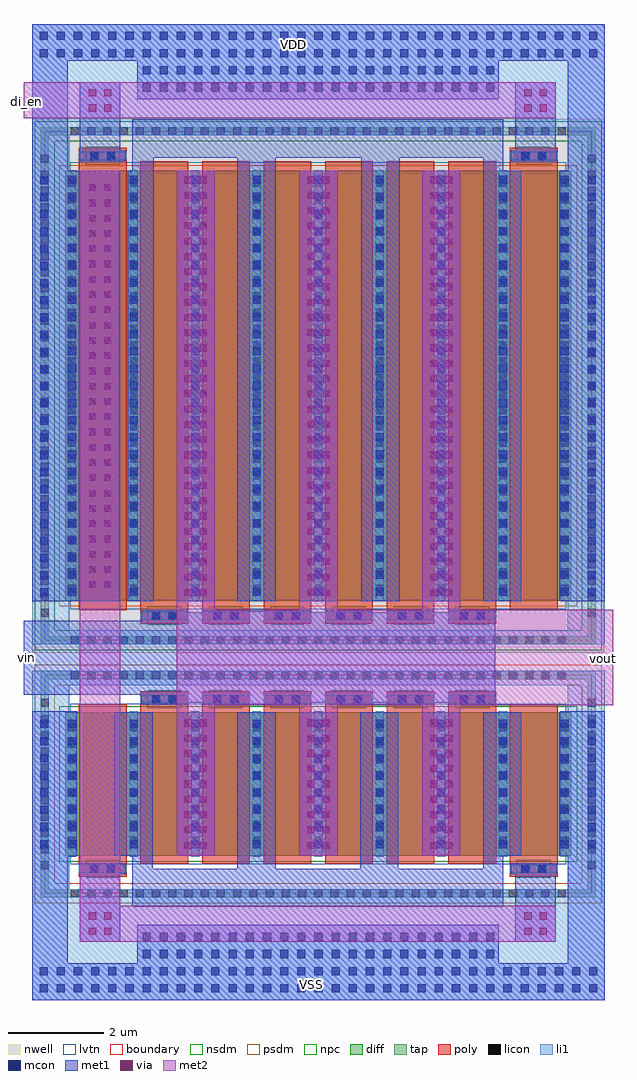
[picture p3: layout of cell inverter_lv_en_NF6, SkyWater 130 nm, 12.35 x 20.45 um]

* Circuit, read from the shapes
.subckt inverter_lv_en_NF6 VDD VSS di_en vin vout
XM1 sky130_fd_pr__nfet_01v8_lvt_WHJEU4_1/S1 VDD VSS VSS sky130_fd_pr__nfet_01v8_lvt w=3 l=1 m=2
XM2 vout vin sky130_fd_pr__nfet_01v8_lvt_WHJEU4_1/S1 VSS sky130_fd_pr__nfet_01v8_lvt w=3 l=1 m=6
XM3 sky130_fd_pr__pfet_01v8_lvt_P4QH36_0/S1 di_en VDD VDD sky130_fd_pr__pfet_01v8_lvt w=9 l=1 m=2
XM4 vout vin sky130_fd_pr__pfet_01v8_lvt_P4QH36_0/S1 VDD sky130_fd_pr__pfet_01v8_lvt w=9 l=1 m=6
.ends

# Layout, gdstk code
import gdstk
lib = gdstk.Library(unit=1e-6, precision=1e-09)
def R(c, l, rs):  # rectangles x0, y0, x1, y1
    for r in rs: c.add(gdstk.rectangle(r[:2], r[2:], *l))
def A(c, l, x, y, w, h, nx, ny, dx, dy):  # array of equal rectangles
    R(c, l, [(x+i*dx, y+j*dy, x+i*dx+w, y+j*dy+h) for i in range(nx) for j in range(ny)])
nwell = (64, 20)
diff = (65, 20)
tap = (65, 44)
poly = (66, 20)
licon = (66, 44)
li1 = (67, 20)
mcon = (67, 44)
met1 = (68, 20)
via = (68, 44)
met2 = (69, 20)
nsdm = (93, 44)
psdm = (94, 20)
npc = (95, 20)
lvtn = (125, 44)
boundary = (235, 4)

sky130_fd_pr__pfet_01v8_ = lib.new_cell('sky130_fd_pr__pfet_01v8_lvt_P4QH36')
R(sky130_fd_pr__pfet_01v8_, nwell, [(-5.995,-5.595,5.995,5.595)])
R(sky130_fd_pr__pfet_01v8_, diff, [(-5.305,-4.5,5.305,4.5)])
R(sky130_fd_pr__pfet_01v8_, tap, [(-5.815,-5.415,5.815,-5.245), (-5.815,-5.245,-5.645,5.245), (5.645,-5.245,5.815,5.245), (-5.815,5.245,5.815,5.415)])
A(sky130_fd_pr__pfet_01v8_, poly, -3.725, -4.985, 1, 9.685, 6, 1, 1.29, 0)
R(sky130_fd_pr__pfet_01v8_, poly, [(-5.015,-4.7,-4.015,4.985), (4.015,-4.7,5.015,4.985)])
A(sky130_fd_pr__pfet_01v8_, licon, -5.185, -5.415, 0.17, 0.17, 31, 2, 0.34, 10.66)
A(sky130_fd_pr__pfet_01v8_, licon, -5.815, -4.845, 0.17, 0.17, 1, 29, 0, 0.34)
A(sky130_fd_pr__pfet_01v8_, licon, 5.645, -4.845, 0.17, 0.17, 1, 29, 0, 0.34)
A(sky130_fd_pr__pfet_01v8_, licon, -5.245, -4.335, 0.17, 0.17, 9, 26, 1.29, 0.34)
R(sky130_fd_pr__pfet_01v8_, licon, [(-3.48,-4.905,-3.31,-4.735), (-3.14,-4.905,-2.97,-4.735), (-2.19,-4.905,-2.02,-4.735), (-1.85,-4.905,-1.68,-4.735), (-0.9,-4.905,-0.73,-4.735), (-0.56,-4.905,-0.39,-4.735), (0.39,-4.905,0.56,-4.735), (0.73,-4.905,0.9,-4.735), (1.68,-4.905,1.85,-4.735), (2.02,-4.905,2.19,-4.735), (2.97,-4.905,3.14,-4.735), (3.31,-4.905,3.48,-4.735), (-4.77,4.735,-4.6,4.905), (-4.43,4.735,-4.26,4.905), (4.26,4.735,4.43,4.905), (4.6,4.735,4.77,4.905)])
A(sky130_fd_pr__pfet_01v8_, li1, -3.725, -4.905, 1, 0.17, 6, 1, 1.29, 0)
A(sky130_fd_pr__pfet_01v8_, li1, -5.245, -4.52, 0.17, 9.04, 9, 1, 1.29, 0)
R(sky130_fd_pr__pfet_01v8_, li1, [(-5.815,-5.415,5.815,-5.245), (-5.815,-5.245,-5.645,5.245), (5.645,-5.245,5.815,5.245), (-5.015,4.735,-4.015,4.905), (4.015,4.735,5.015,4.905), (-5.815,5.245,5.815,5.415)])
A(sky130_fd_pr__pfet_01v8_, mcon, -5.245, -4.405, 0.17, 0.17, 9, 25, 1.29, 0.36)
R(sky130_fd_pr__pfet_01v8_, mcon, [(-3.49,-4.905,-3.32,-4.735), (-3.13,-4.905,-2.96,-4.735), (-2.2,-4.905,-2.03,-4.735), (-1.84,-4.905,-1.67,-4.735), (-0.91,-4.905,-0.74,-4.735), (-0.55,-4.905,-0.38,-4.735), (0.38,-4.905,0.55,-4.735), (0.74,-4.905,0.91,-4.735), (1.67,-4.905,1.84,-4.735), (2.03,-4.905,2.2,-4.735), (2.96,-4.905,3.13,-4.735), (3.32,-4.905,3.49,-4.735), (-4.78,4.735,-4.61,4.905), (-4.42,4.735,-4.25,4.905), (4.25,4.735,4.42,4.905), (4.61,4.735,4.78,4.905)])
A(sky130_fd_pr__pfet_01v8_, met1, -3.705, -4.935, 0.96, 0.23, 6, 1, 1.29, 0)
A(sky130_fd_pr__pfet_01v8_, met1, -5.275, -4.5, 0.23, 9, 9, 1, 1.29, 0)
R(sky130_fd_pr__pfet_01v8_, met1, [(-4.995,4.705,-4.035,4.935), (4.035,4.705,4.995,4.935)])
R(sky130_fd_pr__pfet_01v8_, nsdm, [(-5.94,-5.54,5.94,-5.12), (-5.94,-5.12,-5.52,5.12), (5.52,-5.12,5.94,5.12), (-5.94,5.12,5.94,5.54)])
R(sky130_fd_pr__pfet_01v8_, psdm, [(-5.43,-4.625,5.43,4.625)])
A(sky130_fd_pr__pfet_01v8_, npc, -3.58, -5.005, 0.71, 0.37, 6, 1, 1.29, 0)
R(sky130_fd_pr__pfet_01v8_, npc, [(-4.87,4.635,-4.16,5.005), (4.16,4.635,4.87,5.005)])
R(sky130_fd_pr__pfet_01v8_, lvtn, [(-5.195,-4.68,5.195,4.68)])
R(sky130_fd_pr__pfet_01v8_, boundary, [(-5.73,-5.33,5.73,5.33)])
sky130_fd_pr__pfet_01v8_.add(gdstk.Label('B', (0,-5.33), layer=67, texttype=5))
sky130_fd_pr__pfet_01v8_.add(gdstk.Label('D0', (-5.16,0), layer=67, texttype=5))
sky130_fd_pr__pfet_01v8_.add(gdstk.Label('G0', (-4.515,4.82), layer=67, texttype=5))
sky130_fd_pr__pfet_01v8_.add(gdstk.Label('S1', (-3.87,0), layer=67, texttype=5))
sky130_fd_pr__pfet_01v8_.add(gdstk.Label('D2', (-2.58,0), layer=67, texttype=5))
sky130_fd_pr__pfet_01v8_.add(gdstk.Label('S3', (-1.29,0), layer=67, texttype=5))
sky130_fd_pr__pfet_01v8_.add(gdstk.Label('D4', (0,0), layer=67, texttype=5))
sky130_fd_pr__pfet_01v8_.add(gdstk.Label('S5', (1.29,0), layer=67, texttype=5))
sky130_fd_pr__pfet_01v8_.add(gdstk.Label('D6', (2.58,0), layer=67, texttype=5))
sky130_fd_pr__pfet_01v8_.add(gdstk.Label('S7', (3.87,0), layer=67, texttype=5))
sky130_fd_pr__pfet_01v8_.add(gdstk.Label('G7', (4.515,4.82), layer=67, texttype=5))

sky130_fd_pr__nfet_01v8_ = lib.new_cell('sky130_fd_pr__nfet_01v8_lvt_WHJEU4')
R(sky130_fd_pr__nfet_01v8_, diff, [(-5.305,-1.5,5.305,1.5)])
R(sky130_fd_pr__nfet_01v8_, tap, [(-5.815,-2.37,5.815,-2.2), (-5.815,-2.2,-5.645,2.2), (5.645,-2.2,5.815,2.2), (-5.815,2.2,5.815,2.37)])
A(sky130_fd_pr__nfet_01v8_, poly, -3.725, -1.675, 1, 3.615, 6, 1, 1.29, 0)
R(sky130_fd_pr__nfet_01v8_, poly, [(-5.015,-1.94,-4.015,1.675), (4.015,-1.94,5.015,1.675)])
A(sky130_fd_pr__nfet_01v8_, licon, -5.185, -2.37, 0.17, 0.17, 31, 2, 0.34, 4.57)
A(sky130_fd_pr__nfet_01v8_, licon, -5.815, -1.785, 0.17, 0.17, 1, 11, 0, 0.34)
A(sky130_fd_pr__nfet_01v8_, licon, 5.645, -1.785, 0.17, 0.17, 1, 11, 0, 0.34)
A(sky130_fd_pr__nfet_01v8_, licon, -5.245, -1.275, 0.17, 0.17, 9, 8, 1.29, 0.34)
R(sky130_fd_pr__nfet_01v8_, licon, [(-4.77,-1.86,-4.6,-1.69), (-4.43,-1.86,-4.26,-1.69), (4.26,-1.86,4.43,-1.69), (4.6,-1.86,4.77,-1.69), (-3.48,1.69,-3.31,1.86), (-3.14,1.69,-2.97,1.86), (-2.19,1.69,-2.02,1.86), (-1.85,1.69,-1.68,1.86), (-0.9,1.69,-0.73,1.86), (-0.56,1.69,-0.39,1.86), (0.39,1.69,0.56,1.86), (0.73,1.69,0.9,1.86), (1.68,1.69,1.85,1.86), (2.02,1.69,2.19,1.86), (2.97,1.69,3.14,1.86), (3.31,1.69,3.48,1.86)])
A(sky130_fd_pr__nfet_01v8_, li1, -5.245, -1.52, 0.17, 3.04, 9, 1, 1.29, 0)
A(sky130_fd_pr__nfet_01v8_, li1, -3.725, 1.69, 1, 0.17, 6, 1, 1.29, 0)
R(sky130_fd_pr__nfet_01v8_, li1, [(-5.815,-2.37,5.815,-2.2), (-5.815,-2.2,-5.645,2.2), (5.645,-2.2,5.815,2.2), (-5.015,-1.86,-4.015,-1.69), (4.015,-1.86,5.015,-1.69), (-5.815,2.2,5.815,2.37)])
A(sky130_fd_pr__nfet_01v8_, mcon, -5.245, -1.345, 0.17, 0.17, 9, 8, 1.29, 0.36)
R(sky130_fd_pr__nfet_01v8_, mcon, [(-4.78,-1.86,-4.61,-1.69), (-4.42,-1.86,-4.25,-1.69), (4.25,-1.86,4.42,-1.69), (4.61,-1.86,4.78,-1.69), (-3.49,1.69,-3.32,1.86), (-3.13,1.69,-2.96,1.86), (-2.2,1.69,-2.03,1.86), (-1.84,1.69,-1.67,1.86), (-0.91,1.69,-0.74,1.86), (-0.55,1.69,-0.38,1.86), (0.38,1.69,0.55,1.86), (0.74,1.69,0.91,1.86), (1.67,1.69,1.84,1.86), (2.03,1.69,2.2,1.86), (2.96,1.69,3.13,1.86), (3.32,1.69,3.49,1.86)])
A(sky130_fd_pr__nfet_01v8_, met1, -5.275, -1.5, 0.23, 3, 9, 1, 1.29, 0)
A(sky130_fd_pr__nfet_01v8_, met1, -3.705, 1.66, 0.96, 0.23, 6, 1, 1.29, 0)
R(sky130_fd_pr__nfet_01v8_, met1, [(-4.995,-1.89,-4.035,-1.66), (4.035,-1.89,4.995,-1.66)])
R(sky130_fd_pr__nfet_01v8_, nsdm, [(-5.43,-1.625,5.43,1.625)])
R(sky130_fd_pr__nfet_01v8_, psdm, [(-5.94,-2.495,5.94,-2.075), (-5.94,-2.075,-5.52,2.075), (5.52,-2.075,5.94,2.075), (-5.94,2.075,5.94,2.495)])
A(sky130_fd_pr__nfet_01v8_, npc, -3.58, 1.59, 0.71, 0.37, 6, 1, 1.29, 0)
R(sky130_fd_pr__nfet_01v8_, npc, [(-4.87,-1.96,-4.16,-1.59), (4.16,-1.96,4.87,-1.59)])
R(sky130_fd_pr__nfet_01v8_, lvtn, [(-5.195,-1.68,5.195,1.68)])
R(sky130_fd_pr__nfet_01v8_, boundary, [(-5.73,-2.285,5.73,2.285)])
sky130_fd_pr__nfet_01v8_.add(gdstk.Label('B', (0,-2.285), layer=67, texttype=5))
sky130_fd_pr__nfet_01v8_.add(gdstk.Label('D0', (-5.16,0), layer=67, texttype=5))
sky130_fd_pr__nfet_01v8_.add(gdstk.Label('S1', (-3.87,0), layer=67, texttype=5))
sky130_fd_pr__nfet_01v8_.add(gdstk.Label('G1', (-3.225,1.775), layer=67, texttype=5))
sky130_fd_pr__nfet_01v8_.add(gdstk.Label('D2', (-2.58,0), layer=67, texttype=5))
sky130_fd_pr__nfet_01v8_.add(gdstk.Label('G2', (-1.935,1.775), layer=67, texttype=5))
sky130_fd_pr__nfet_01v8_.add(gdstk.Label('S3', (-1.29,0), layer=67, texttype=5))
sky130_fd_pr__nfet_01v8_.add(gdstk.Label('G3', (-0.645,1.775), layer=67, texttype=5))
sky130_fd_pr__nfet_01v8_.add(gdstk.Label('D4', (0,0), layer=67, texttype=5))
sky130_fd_pr__nfet_01v8_.add(gdstk.Label('G4', (0.645,1.775), layer=67, texttype=5))
sky130_fd_pr__nfet_01v8_.add(gdstk.Label('S5', (1.29,0), layer=67, texttype=5))
sky130_fd_pr__nfet_01v8_.add(gdstk.Label('G5', (1.935,1.775), layer=67, texttype=5))
sky130_fd_pr__nfet_01v8_.add(gdstk.Label('D6', (2.58,0), layer=67, texttype=5))
sky130_fd_pr__nfet_01v8_.add(gdstk.Label('G6', (3.225,1.775), layer=67, texttype=5))
sky130_fd_pr__nfet_01v8_.add(gdstk.Label('S7', (3.87,0), layer=67, texttype=5))

inverter_lv_en_nf6 = lib.new_cell('inverter_lv_en_NF6')
R(inverter_lv_en_nf6, li1, [(-0.65,3.025,11.35,5.35), (-0.65,5.35,0.125,9.625), (10.575,5.35,11.35,9.625), (-0.65,9.625,11.35,9.925), (-0.65,10.475,0.125,10.65), (10.575,10.475,11.35,10.65), (-0.65,10.65,11.35,10.775), (-0.65,10.775,0.125,21.3), (10.575,10.775,11.35,21.3), (-0.65,21.3,11.35,23.475)])
A(inverter_lv_en_nf6, mcon, -0.495, 3.185, 0.17, 0.17, 33, 2, 0.36, 0.36)
A(inverter_lv_en_nf6, mcon, 1.665, 3.905, 0.17, 0.17, 21, 2, 0.36, 0.36)
A(inverter_lv_en_nf6, mcon, -0.485, 6.205, 0.17, 0.17, 1, 8, 0, 0.36)
A(inverter_lv_en_nf6, mcon, 10.99, 6.205, 0.17, 0.17, 1, 8, 0, 0.36)
A(inverter_lv_en_nf6, mcon, -0.485, 11.48, 0.17, 0.17, 1, 25, 0, 0.36)
A(inverter_lv_en_nf6, mcon, 10.99, 11.48, 0.17, 0.17, 1, 25, 0, 0.36)
A(inverter_lv_en_nf6, mcon, 1.665, 22.06, 0.17, 0.17, 21, 2, 0.36, 0.36)
A(inverter_lv_en_nf6, mcon, -0.495, 22.78, 0.17, 0.17, 33, 2, 0.36, 0.36)
A(inverter_lv_en_nf6, met1, 2.375, 6.05, 0.8, 3, 3, 1, 2.575, 0)
A(inverter_lv_en_nf6, met1, 2.375, 11.375, 0.8, 9.025, 3, 1, 2.575, 0)
R(inverter_lv_en_nf6, met1, [(-0.65,3.025,11.35,3.8), (-0.65,3.8,0.1,6.025), (1.55,3.8,9.125,4.6), (10.575,3.8,11.35,6.05), (0.35,4.25,1.2,5.85), (9.475,4.25,10.325,5.85), (1.45,4.975,9.225,5.775), (1.45,5.775,1.875,6.05), (3.65,5.775,4.45,9.05), (6.225,5.775,7.025,9.05), (8.8,5.775,9.225,6.05), (-0.65,6.025,0.275,9.05), (1.075,6.05,1.875,9.05), (8.8,6.05,9.6,9.05), (10.425,6.05,11.35,9.075), (-0.65,9.05,0.3,9.075), (3.65,9.225,4.45,9.25), (1.65,9.25,9.05,9.425), (-0.825,9.425,9.05,10.975), (1.65,10.975,9.05,11.15), (3.65,11.15,4.45,11.175), (-0.65,11.375,1.175,20.4), (1.35,11.375,1.9,20.4), (3.65,11.375,4.45,20.675), (6.25,11.375,7.05,20.675), (8.8,11.375,9.6,20.4), (10.425,11.375,11.35,20.4), (-0.65,20.4,0.1,22.7), (1.45,20.4,1.9,20.675), (8.8,20.4,9.225,20.675), (10.575,20.4,11.35,22.7), (0.35,20.65,1.2,22.25), (9.475,20.65,10.325,22.25), (1.45,20.675,9.225,21.475), (1.55,21.9,9.125,22.7), (-0.65,22.7,11.35,23.475)])
A(inverter_lv_en_nf6, via, 2.54, 6.195, 0.15, 0.15, 1, 9, 0, 0.32)
A(inverter_lv_en_nf6, via, 2.86, 6.195, 0.15, 0.15, 1, 9, 0, 0.32)
A(inverter_lv_en_nf6, via, 5.115, 6.195, 0.15, 0.15, 1, 9, 0, 0.32)
A(inverter_lv_en_nf6, via, 5.435, 6.195, 0.15, 0.15, 1, 9, 0, 0.32)
A(inverter_lv_en_nf6, via, 7.69, 6.195, 0.15, 0.15, 1, 9, 0, 0.32)
A(inverter_lv_en_nf6, via, 8.01, 6.195, 0.15, 0.15, 1, 9, 0, 0.32)
A(inverter_lv_en_nf6, via, 2.54, 11.49, 0.15, 0.15, 1, 28, 0, 0.32)
A(inverter_lv_en_nf6, via, 2.86, 11.49, 0.15, 0.15, 1, 28, 0, 0.32)
A(inverter_lv_en_nf6, via, 5.115, 11.49, 0.15, 0.15, 1, 28, 0, 0.32)
A(inverter_lv_en_nf6, via, 5.435, 11.49, 0.15, 0.15, 1, 28, 0, 0.32)
A(inverter_lv_en_nf6, via, 7.69, 11.49, 0.15, 0.15, 1, 28, 0, 0.32)
A(inverter_lv_en_nf6, via, 8.01, 11.49, 0.15, 0.15, 1, 28, 0, 0.32)
A(inverter_lv_en_nf6, via, 0.54, 11.65, 0.15, 0.15, 1, 27, 0, 0.32)
A(inverter_lv_en_nf6, via, 0.86, 11.65, 0.15, 0.15, 1, 27, 0, 0.32)
R(inverter_lv_en_nf6, via, [(0.54,4.39,0.69,4.54), (0.86,4.39,1.01,4.54), (9.665,4.39,9.815,4.54), (9.985,4.39,10.135,4.54), (0.54,4.71,0.69,4.86), (0.86,4.71,1.01,4.86), (9.665,4.71,9.815,4.86), (9.985,4.71,10.135,4.86), (0.54,21.64,0.69,21.79), (0.86,21.64,1.01,21.79), (9.665,21.64,9.815,21.79), (9.985,21.64,10.135,21.79), (0.54,21.96,0.69,22.11), (0.86,21.96,1.01,22.11), (9.665,21.96,9.815,22.11), (9.985,21.96,10.135,22.11)])
A(inverter_lv_en_nf6, met2, 2.375, 6.05, 0.8, 3.15, 3, 1, 2.575, 0)
A(inverter_lv_en_nf6, met2, 2.375, 11.2, 0.8, 9.2, 3, 1, 2.575, 0)
R(inverter_lv_en_nf6, met2, [(0.35,4.25,10.325,5), (0.35,5,1.2,20.4), (2.375,9.2,11.525,11.2), (-0.825,21.5,10.325,22.25)])
inverter_lv_en_nf6.add(gdstk.Reference(sky130_fd_pr__pfet_01v8_, (5.345,15.895)))
inverter_lv_en_nf6.add(gdstk.Reference(sky130_fd_pr__nfet_01v8_, (5.345,7.55)))
inverter_lv_en_nf6.add(gdstk.Label('di_en', (-0.775,21.85), layer=69, texttype=5))
inverter_lv_en_nf6.add(gdstk.Label('VSS', (5.2,3.35), layer=68, texttype=5))
inverter_lv_en_nf6.add(gdstk.Label('VDD', (4.825,23.05), layer=68, texttype=5))
inverter_lv_en_nf6.add(gdstk.Label('vin', (-0.775,10.2), layer=68, texttype=5))
inverter_lv_en_nf6.add(gdstk.Label('vout', (11.325,10.175), layer=69, texttype=5))

lib.write_gds('inverter_lv_en_NF6.gds')
